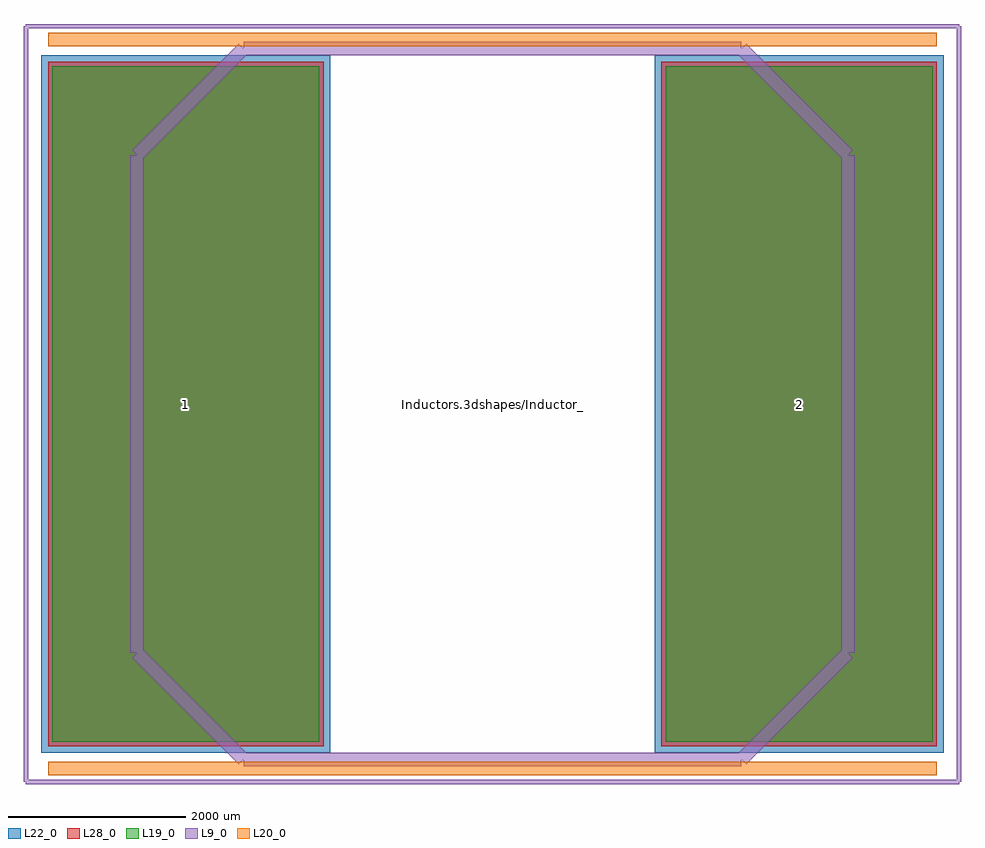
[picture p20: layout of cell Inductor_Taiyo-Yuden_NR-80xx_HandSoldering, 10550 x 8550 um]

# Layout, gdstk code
import gdstk
lib = gdstk.Library(unit=1e-6, precision=1e-09)
def R(c, l, rs):  # rectangles x0, y0, x1, y1
    for r in rs: c.add(gdstk.rectangle(r[:2], r[2:], *l))
L9_0 = (9, 0)
L19_0 = (19, 0)
L20_0 = (20, 0)
L22_0 = (22, 0)
L28_0 = (28, 0)

inductor_taiyo_yuden_nr_ = lib.new_cell('Inductor_Taiyo-Yuden_NR-80xx_HandSoldering')
R(inductor_taiyo_yuden_nr_, L19_0, [(-4950,-3800,-1950,3800), (1950,-3800,4950,3800)])
R(inductor_taiyo_yuden_nr_, L22_0, [(-5075,-3925,-1825,3925), (1825,-3925,5075,3925)])
R(inductor_taiyo_yuden_nr_, L28_0, [(-5000,-3850,-1900,3850), (1900,-3850,5000,3850)])
inductor_taiyo_yuden_nr_.add(gdstk.FlexPath([(5250,4250),(-5250,4250)], 50, ends="flush", simple_path=True, layer=9, datatype=0))  # L9_0
inductor_taiyo_yuden_nr_.add(gdstk.FlexPath([(5250,-4250),(5250,4250)], 50, ends="flush", simple_path=True, layer=9, datatype=0))  # L9_0
inductor_taiyo_yuden_nr_.add(gdstk.FlexPath([(-5250,-4250),(5250,-4250)], 50, ends="flush", simple_path=True, layer=9, datatype=0))  # L9_0
inductor_taiyo_yuden_nr_.add(gdstk.FlexPath([(-5250,4250),(-5250,-4250)], 50, ends="flush", simple_path=True, layer=9, datatype=0))  # L9_0
inductor_taiyo_yuden_nr_.add(gdstk.FlexPath([(-5000,-4100),(5000,-4100)], 149.998, ends="flush", simple_path=True, layer=20, datatype=0))  # L20_0
inductor_taiyo_yuden_nr_.add(gdstk.FlexPath([(-5000,4100),(5000,4100)], 149.998, ends="flush", simple_path=True, layer=20, datatype=0))  # L20_0
inductor_taiyo_yuden_nr_.add(gdstk.FlexPath([(-2800,-4000),(0,-4000)], 149.998, ends="flush", simple_path=True, layer=9, datatype=0))  # L9_0
inductor_taiyo_yuden_nr_.add(gdstk.FlexPath([(-4000,-2800),(-2800,-4000)], 149.998, ends="flush", simple_path=True, layer=9, datatype=0))  # L9_0
inductor_taiyo_yuden_nr_.add(gdstk.FlexPath([(-4000,0),(-4000,-2800)], 149.998, ends="flush", simple_path=True, layer=9, datatype=0))  # L9_0
inductor_taiyo_yuden_nr_.add(gdstk.FlexPath([(2800,-4000),(0,-4000)], 149.998, ends="flush", simple_path=True, layer=9, datatype=0))  # L9_0
inductor_taiyo_yuden_nr_.add(gdstk.FlexPath([(4000,-2800),(2800,-4000)], 149.998, ends="flush", simple_path=True, layer=9, datatype=0))  # L9_0
inductor_taiyo_yuden_nr_.add(gdstk.FlexPath([(4000,0),(4000,-2800)], 149.998, ends="flush", simple_path=True, layer=9, datatype=0))  # L9_0
inductor_taiyo_yuden_nr_.add(gdstk.FlexPath([(2800,4000),(0,4000)], 149.998, ends="flush", simple_path=True, layer=9, datatype=0))  # L9_0
inductor_taiyo_yuden_nr_.add(gdstk.FlexPath([(4000,2800),(2800,4000)], 149.998, ends="flush", simple_path=True, layer=9, datatype=0))  # L9_0
inductor_taiyo_yuden_nr_.add(gdstk.FlexPath([(4000,0),(4000,2800)], 149.998, ends="flush", simple_path=True, layer=9, datatype=0))  # L9_0
inductor_taiyo_yuden_nr_.add(gdstk.FlexPath([(-2800,4000),(0,4000)], 149.998, ends="flush", simple_path=True, layer=9, datatype=0))  # L9_0
inductor_taiyo_yuden_nr_.add(gdstk.FlexPath([(-4000,2800),(-2800,4000)], 149.998, ends="flush", simple_path=True, layer=9, datatype=0))  # L9_0
inductor_taiyo_yuden_nr_.add(gdstk.FlexPath([(-4000,0),(-4000,2800)], 149.998, ends="flush", simple_path=True, layer=9, datatype=0))  # L9_0
inductor_taiyo_yuden_nr_.add(gdstk.Label('Inductors.3dshapes/Inductor_Taiyo-Yuden_NR-80xx.wrl', (0,0), layer=12, texttype=0))
inductor_taiyo_yuden_nr_.add(gdstk.Label('2', (3450,0), layer=28, texttype=0))
inductor_taiyo_yuden_nr_.add(gdstk.Label('1', (-3450,0), layer=28, texttype=0))
inductor_taiyo_yuden_nr_.add(gdstk.Label('type', (0,-5500), layer=9, texttype=0))
inductor_taiyo_yuden_nr_.add(gdstk.Label('devicename', (0,5000), layer=9, texttype=0))

lib.write_gds('Inductor_Taiyo-Yuden_NR-80xx_HandSoldering.gds')
